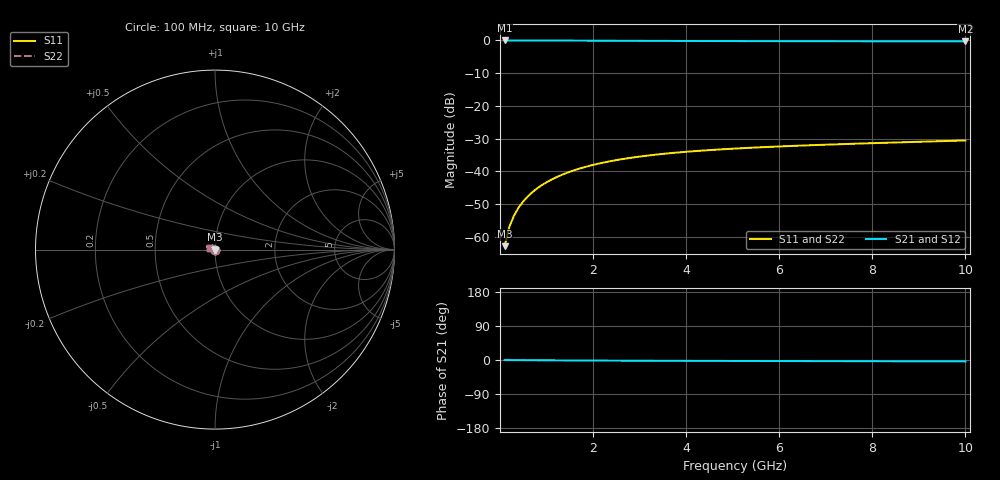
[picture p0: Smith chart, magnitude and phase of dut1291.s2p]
! Touchstone file exported from HFSS 2024.1.0
!  File:  C:/UserFiles/LocalFiles/RDL_TSV_Batchsim/temp_TSV1_1291_1780256229.aedt
!  Generated:  03:42:30 AM Jun  1, 2026
!  Design:  TSV1
!  Project:  temp_TSV1_1291_1780256229
!  Setup:  Setup1
!  Solution:  Sweep
! Variables:
!  dtsv = 8.18um
!  hbump = 3um
!  htsv = 54.82um
!  lrdl = 252.1521522um
!  p = 40
!  p1 = 47.45um
!  t = 500um
!  trdl = 3um
!  wrdl = 24.89489489um
# GHz S MA R 50.000000
! Terminal data exported
! Port[1] = TSV22_T1
! Port[2] = TSV22_T2
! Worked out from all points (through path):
!   100 points, 100 MHz to 10 GHz, reference 50 ohm
!   highest |S21| = 0.00 dB at 100 MHz (marker M1); lowest = -0.3 dB at 10 GHz (marker M2)
!   lowest |S11| = -62.8 dB at 100 MHz (marker M3), VSWR 1.00, Z = 50 - j0.0706 ohm
!   |S11| at or under -10 dB: start of sweep to end of sweep
!   |S22| runs from -62.8 to -30.6 dB; largest |S21 - S12| = 4.2e-15
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0.1  0.0007214 -77.9  0.9998 -0.1  0.9998 -0.1  0.0007214 -77.9
! Gamma 0 0 0 0
! Port Impedance 50 0 50 0
0.2  0.001409 -86.8  0.9997 -0.2  0.9997 -0.2  0.001409 -86.8
0.3  0.002102 -91.1  0.9996 -0.3  0.9996 -0.3  0.002102 -91.1
0.4  0.002794 -94.2  0.9994 -0.3  0.9994 -0.3  0.002794 -94.2
0.5  0.003482 -96.9  0.9992 -0.4  0.9992 -0.4  0.003482 -96.9
0.6  0.004164 -99.3  0.9989 -0.5  0.9989 -0.5  0.004164 -99.3
0.7  0.004839 -101.5  0.9986 -0.6  0.9986 -0.6  0.004839 -101.5
0.8  0.005507 -103.6  0.9982 -0.7  0.9982 -0.7  0.005507 -103.6
0.9  0.006165 -105.6  0.9979 -0.7  0.9979 -0.7  0.006165 -105.6
1.1  0.007449 -109.5  0.997 -0.9  0.997 -0.9  0.007449 -109.5
1.4  0.009282 -115.0  0.9955 -1.1  0.9955 -1.1  0.009282 -115.0
1.6  0.01043 -118.5  0.9945 -1.2  0.9945 -1.2  0.01043 -118.5
1.8  0.01153 -121.9  0.9933 -1.3  0.9933 -1.3  0.01153 -121.9
2.1  0.01305 -126.7  0.9916 -1.5  0.9916 -1.5  0.01305 -126.7
2.5  0.01487 -132.6  0.9893 -1.7  0.9893 -1.7  0.01487 -132.6
2.9  0.01647 -138.1  0.9871 -1.8  0.9871 -1.8  0.01647 -138.1
3.4  0.01819 -144.4  0.9846 -2.0  0.9846 -2.0  0.01819 -144.4
4.2  0.02044 -153.3  0.981 -2.3  0.981 -2.3  0.02044 -153.3
5.1  0.02242 -161.8  0.9777 -2.5  0.9777 -2.5  0.02242 -161.8
6.7  0.02514 -174.2  0.9737 -2.9  0.9737 -2.9  0.02514 -174.2
8.4  0.02753 175.3  0.9708 -3.3  0.9708 -3.3  0.02753 175.3
10  0.02968 167.0  0.9689 -3.7  0.9689 -3.7  0.02968 167.0
